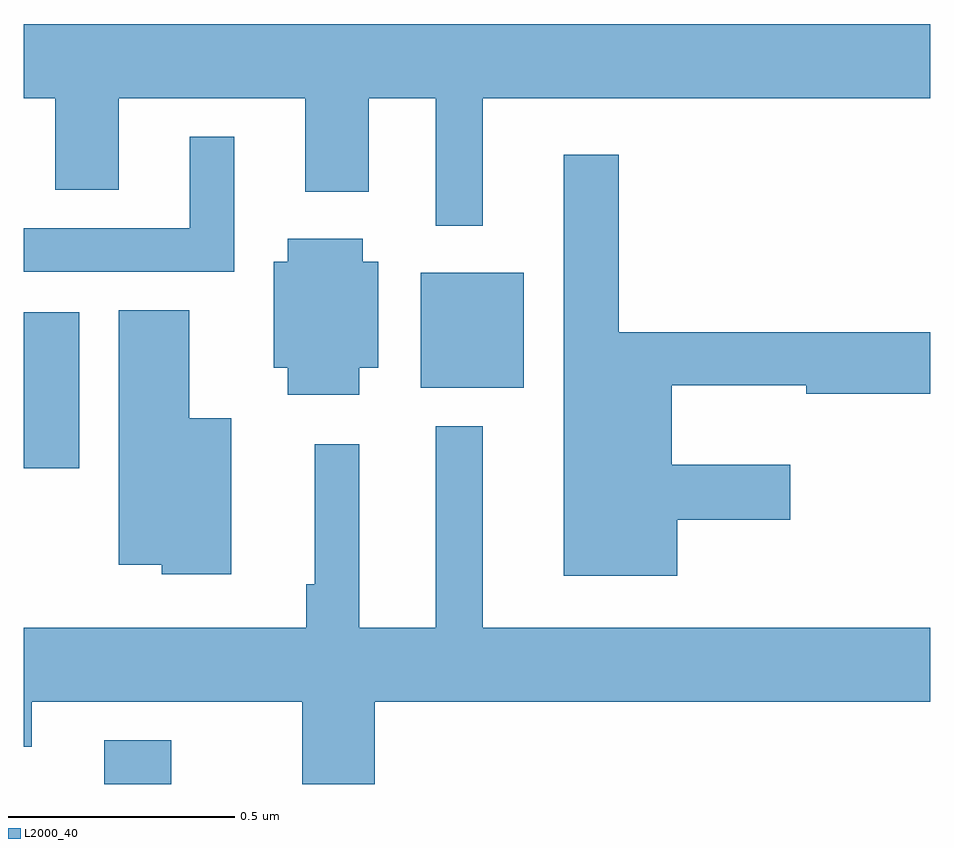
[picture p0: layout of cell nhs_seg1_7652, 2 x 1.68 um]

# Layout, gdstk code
import gdstk
lib = gdstk.Library(unit=1e-6, precision=1e-09)
def R(c, l, rs):  # rectangles x0, y0, x1, y1
    for r in rs: c.add(gdstk.rectangle(r[:2], r[2:], *l))
def P(c, l, *ps):  # polygons
    for p in ps: c.add(gdstk.Polygon(p, *l))
L2000_40 = (2000, 40)

nhs_seg1_7652 = lib.new_cell('nhs_seg1_7652')
R(nhs_seg1_7652, L2000_40, [(206.177,570.199,206.325,570.295), (206,570.896,206.122,571.24), (206.876,571.073,207.103,571.327)])
P(nhs_seg1_7652, L2000_40, [(207.013,571.712),(208,571.712),(208,571.876),(206,571.876),(206,571.712),(206.069,571.712),(206.069,571.51),(206.209,571.51),(206.209,571.712),(206.621,571.712),(206.621,571.506),(206.761,571.506),(206.761,571.712),(206.909,571.712),(206.909,571.431),(207.013,571.431)],
  [(206.464,571.627),(206.366,571.627),(206.366,571.425),(206,571.425),(206,571.329),(206.464,571.329)],
  [(207.442,570.782),(207.691,570.782),(207.691,570.904),(207.43,570.904),(207.43,571.079),(207.726,571.079),(207.726,571.06),(208,571.06),(208,571.196),(207.313,571.196),(207.313,571.588),(207.191,571.588),(207.191,570.659),(207.442,570.659)],
  [(206.74,571.118),(206.782,571.118),(206.782,571.351),(206.748,571.351),(206.748,571.402),(206.582,571.402),(206.582,571.351),(206.552,571.351),(206.552,571.118),(206.582,571.118),(206.582,571.058),(206.74,571.058)],
  [(206.458,571.006),(206.365,571.006),(206.365,571.244),(206.21,571.244),(206.21,570.683),(206.304,570.683),(206.304,570.662),(206.458,570.662)],
  [(206.774,570.38),(208,570.38),(208,570.544),(207.013,570.544),(207.013,570.988),(206.909,570.988),(206.909,570.544),(206.74,570.544),(206.74,570.949),(206.642,570.949),(206.642,570.64),(206.623,570.64),(206.623,570.544),(206,570.544),(206,570.281),(206.017,570.281),(206.017,570.38),(206.614,570.38),(206.614,570.199),(206.774,570.199)])

lib.write_gds('nhs_seg1_7652.gds')
